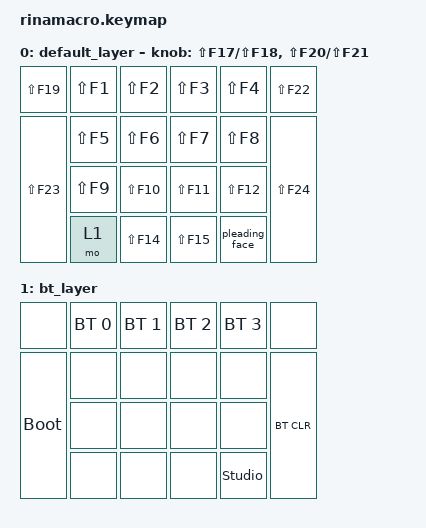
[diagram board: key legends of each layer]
#include <behaviors.dtsi>
#include <dt-bindings/zmk/keys.h>
#include <dt-bindings/zmk/bt.h>
#include <behaviors/unicode.dtsi>
#include <zmk-unicode/keys-full.h>


// Optional: Overwrite default behavior properties
&uc {
    default-mode = <UC_MODE_WIN_COMPOSE>;
    minimum-length = <0>;
    win-compose-key = <RALT>;

};

/{
    macros {
        Pleading Face: pleading_face {
            compatible = "zmk,behavior-macro";
            #binding-cells = <0>;
            bindings
                = <&macro_tap &kp RALT>
                , <&macro_tap &kp U>
                , <&macro_tap &kp 1 &kp F &kp 9 &kp 7 &kp A>
                , <&macro_tap &kp RET>
                //, <&macro_tap &kp Z &kp M &kp K>
                //, <&macro_release &kp LSHFT>
                ;
        };
    };
    keymap {
        compatible = "zmk,keymap";

        default_layer {
            bindings = <
            &kp LS(F19)     &kp LS(F1)       &kp LS(F2)       &kp LS(F3)       &kp LS(F4)       &kp LS(F22)
            &kp LS(F23)     &kp LS(F5)       &kp LS(F6)       &kp LS(F7)       &kp LS(F8)       &kp LS(F24)
                            &kp LS(F9)       &kp LS(F10)      &kp LS(F11)      &kp LS(F12)      
                            &mo 1            &kp LS(F14)      &kp LS(F15)      &pleading_face   /*&uc 0x1F97A 0*/  /*Pleading Face*/
            >;
            sensor-bindings = <&inc_dec_kp LS(F17) LS(F18) &inc_dec_kp LS(F20) LS(F21)>;
        };

        bt_layer {
            bindings = <
            &none           &bt BT_SEL 0     &bt BT_SEL 1     &bt BT_SEL 2     &bt BT_SEL 3     &none
            &bootloader     &none            &none            &none            &none            &bt BT_CLR
                            &none            &none            &none            &none 
                            &none            &none            &none            &studio_unlock            
            >;
        };

        extra_layer_1 {
            status = "reserved";
        };

        extra_layer_2 {
            status = "reserved";
        };

        extra_layer_3 {
            status = "reserved";
        };
    };
};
